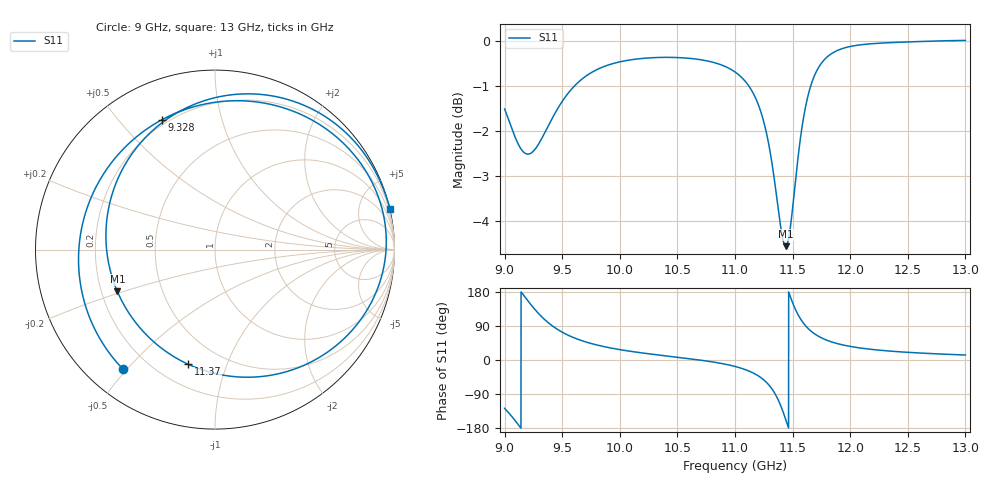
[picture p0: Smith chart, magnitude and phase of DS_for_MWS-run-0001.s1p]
! TOUCHSTONE file generated by CST DESIGN STUDIO
! Date and time: Tue Feb  4 14:10:28 2025
! Project name: C:\Work\MatlabApps\UnitCellOptimizationMatlab\CST\unitcell.cst
! Tree item: Tasks\Sweep1\SPara1\S-Parameters
! Header version: 2024
! Port assignment regex: !\s*Touchstone port\s*([0-9]+)\s*=\s*(CST MWS port|CST DES external port|CST DES block port)\s*(.+)\s* \(\"(.*)\"\)(\s*mode\s*([0-9]+))?.*
! Touchstone port assignment:
! Touchstone port 1 = CST DES external port 1 ("")
# GHz S MA R 50
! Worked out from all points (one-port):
!   4001 points, 9 GHz to 13 GHz, reference 50 ohm
!   lowest |S11| = -4.6 dB at 11.44 GHz (marker M1), VSWR 3.90, Z = 13.3 - j9.56 ohm
!   |S11| at or under -10 dB: nowhere
!   S11 on the Smith chart (normalised r, x): 9 GHz: 0.11, -0.49; 9.328 GHz: 0.18, +0.66; 11.37 GHz: 0.33, -0.74; 13 GHz: -0.03, +8.67
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9  0.8402 -127.7
9.086  0.7846 -157.8
9.154  0.7552 175.3
9.245  0.7533 139.8
9.328  0.7816 112.3
9.406  0.817 91.9
9.5  0.8566 73.4
9.601  0.8895 58.8
9.713  0.915 46.9
10  0.9475 27.4
10.5  0.9579 7.3
11  0.9234 -17.0
11.126  0.8886 -29.8
11.22  0.8374 -45.5
11.312  0.7438 -72.7
11.372  0.6559 -103.3
11.405  0.6122 -126.9
11.44  0.592 -156.8
11.47  0.6083 176.2
11.5  0.6522 151.2
11.532  0.7131 128.7
11.563  0.771 111.2
11.634  0.8693 83.4
11.703  0.9225 66.6
11.781  0.9543 54.2
12  0.9854 35.9
12.5  0.9969 20.2
13  1.001 13.2
